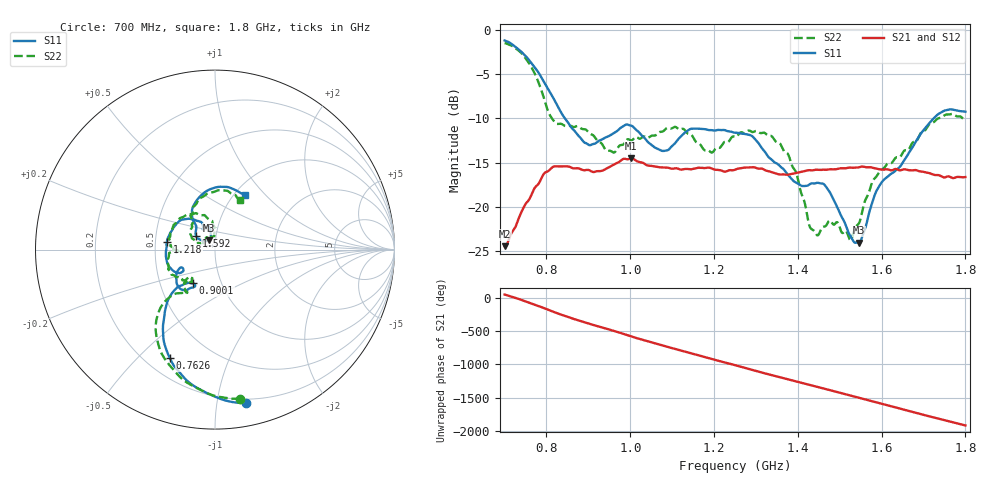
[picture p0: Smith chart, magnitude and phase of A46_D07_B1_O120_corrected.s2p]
! Created with skrf 1.9.0 (http://scikit-rf.org).
# Hz S RI R 50.0
!freq ReS11 ImS11 ReS21 ImS21 ReS12 ImS12 ReS22 ImS22
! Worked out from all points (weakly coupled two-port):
!   1601 points, 700 MHz to 1.8 GHz, reference 50 ohm
!   highest |S21| = -14.53 dB at 1.002 GHz (marker M1); lowest = -24.5 dB at 700.7 MHz (marker M2)
!   lowest |S11| = -24.1 dB at 1.546 GHz (marker M3), VSWR 1.13, Z = 46.3 + j4.74 ohm
!   |S11| at or under -10 dB: 844 MHz to 1.724 GHz (880.3 MHz wide, 68.5 % of centre)
!   |S22| runs from -23.8 to -1.5 dB; largest |S21 - S12| = 0.0035
!   S11 on the Smith chart (normalised r, x): 700 MHz: 0.17, -1.21; 762.6 MHz: 0.29, -0.63; 900.1 MHz: 0.73, -0.29; 1.218 GHz: 0.58, +0.06; 1.592 GHz: 0.80, +0.12; 1.8 GHz: 1.12, +0.77
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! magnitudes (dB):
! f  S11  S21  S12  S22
! 700 MHz  -1.2  -24.5  -24.2  -1.5
! 700.7 MHz  -1.2  -24.5  -24.2  -1.5
! 762.6 MHz  -3.7  -18.8  -18.8  -4.1
! 817.6 MHz  -7.8  -15.5  -15.6  -10.3
! 883.6 MHz  -12.4  -15.8  -15.7  -11.2
! 900.1 MHz  -13.0  -15.8  -15.9  -11.6
! 958.5 MHz  -11.7  -15.3  -15.3  -13.8
! 1.002 GHz  -10.8  -14.5  -14.6  -12.5
! 1.067 GHz  -13.5  -15.5  -15.5  -11.6
! 1.145 GHz  -11.2  -15.8  -15.8  -11.8
! 1.218 GHz  -11.3  -15.9  -15.9  -13.1
! 1.25 GHz  -11.6  -15.8  -15.7  -12.1
! 1.357 GHz  -15.4  -16.4  -16.3  -12.8
! 1.396 GHz  -17.3  -16.2  -16.2  -16.1
! 1.434 GHz  -17.4  -15.9  -15.8  -22.6
! 1.469 GHz  -17.8  -15.8  -15.8  -22.1
! 1.526 GHz  -23.3  -15.6  -15.6  -23.8
! 1.546 GHz  -24.1  -15.5  -15.5  -21.8
! 1.592 GHz  -17.8  -15.7  -15.7  -16.2
! 1.617 GHz  -16.5  -15.8  -15.8  -15.1
! 1.733 GHz  -9.6  -16.4  -16.4  -10.1
! 1.8 GHz  -9.3  -16.6  -16.6  -10.2
